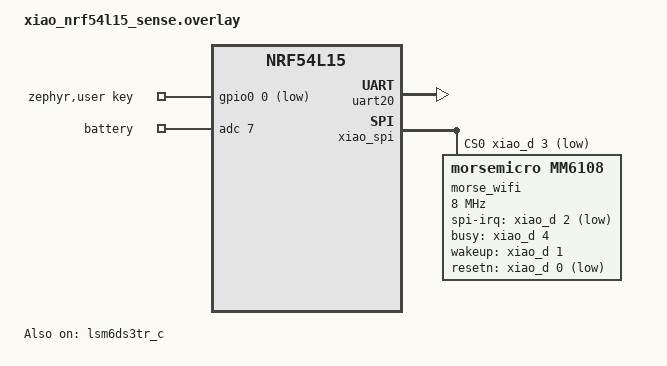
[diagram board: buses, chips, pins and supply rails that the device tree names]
/*
 * Seeed XIAO nRF54L15 Sense with the Seeed FGH100M HaLow shield.
 *
 * XIAO board pins:
 *   USER_LED -> P2.00, active-low
 *   USER_KEY -> P0.00, active-low with pull-up
 *   IMU_SDA  -> P0.04 (TWIM30 SDA)
 *   IMU_SCL  -> P0.03 (TWIM30 SCL)
 *   GPS_RXD  -> D6 / P2.08 (disabled in this logging build)
 *   GPS_TXD  -> D7 / P2.07 (disabled in this logging build)
 *
 * The board DTS already defines the LED, key, onboard LSM6DS3TR-C, and their
 * pinctrl entries. This overlay only adds the application aliases and the
 * external peripherals.
 */

/ {
	aliases {
		/delete-property/ gps0;
	};

	zephyr,user {
		key-gpios = <&gpio0 0 (GPIO_PULL_UP | GPIO_ACTIVE_LOW)>;
		/* The Seeed FGH100M shield has no software-controlled power rail. */
		halow-always-powered;
		/* The onboard 1:1 VBAT divider is routed to SAADC AIN7/P1.14. */
		io-channels = <&adc 7>;
		io-channel-names = "battery";
	};
};

/* Enable the TPS22916-fed divider only while taking a battery sample. */
&vbat_pwr {
	/delete-property/ regulator-boot-on;
};

/* Reserve UART20 for the onboard debugger's PlatformIO VCOM console. */
&uart20 {
	status = "okay";
};

&xiao_serial {
	status = "disabled";
};

&lsm6ds3tr_c {
	status = "okay";
	zephyr,deferred-init;
};

/*
 * Seeed FGH100M shield:
 *   D3  -> P1.07 (CS)
 *   D8  -> P2.01 (SCK)
 *   D9  -> P2.04 (MISO)
 *   D10 -> P2.02 (MOSI)
 *   D2  -> P1.06 (IRQ)
 *   D4  -> P1.10 (BUSY)
 *   D1  -> P1.05 (WAKE)
 *   D0  -> P1.04 (RESETn)
 */
&xiao_spi {
	status = "okay";
	cs-gpios = <&xiao_d 3 GPIO_ACTIVE_LOW>;

	morse_wifi: morse@0 {
		status = "okay";
		compatible = "morsemicro,mm6108";
		bcf = "bcf_fgh100mhaamd.mbin";
		/* nRF54L SPIM00 requires an exact even clock prescaler; 12 MHz is invalid. */
		spi-max-frequency = <8000000>;
		reg = <0>;

		spi-irq-gpios = <&xiao_d 2 GPIO_ACTIVE_LOW>;
		busy-gpios = <&xiao_d 4 (GPIO_ACTIVE_HIGH | GPIO_PULL_DOWN)>;
		wakeup-gpios = <&xiao_d 1 GPIO_ACTIVE_HIGH>;
		resetn-gpios = <&xiao_d 0 GPIO_ACTIVE_LOW>;
		/* The shield is always powered; it has no power-enable GPIO. */
	};
};
